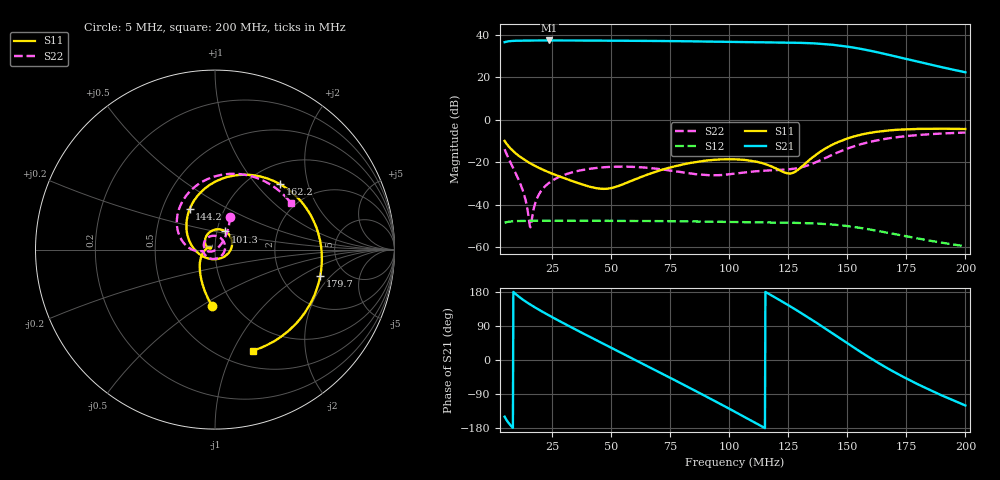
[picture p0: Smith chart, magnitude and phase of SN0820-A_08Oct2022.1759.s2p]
# Hz S DB R 50
! CMT, M5045, 22160017, 22.3.3/2
! Date: 10/8/2022 17:59:22
! Data: Format (Calibration Info)
! Freq	S11:dB/Ang(F2)	S21:dB/Ang(F2)	S12:dB/Ang(F2)	S22:dB/Ang(F2)
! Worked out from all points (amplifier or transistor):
!   1001 points, 5 MHz to 200 MHz, reference 50 ohm
!   highest |S21| = 37.3 dB at 23.91 MHz (marker M1)
!   |S21| within 3 dB of that: start of sweep to 150.7 MHz
!   unconditionally stable (mu >= 1): start of sweep to end of sweep
!   at 37.37 MHz: K = 1.80, MAG = 37.2 dB, |S12| = -47.6 dB
!   at 102.5 MHz: K = 2.01, MAG = 36.7 dB, |S12| = -48.2 dB
!   at 200 MHz: K = 17.85, MAG = 25.4 dB, |S12| = -59.6 dB
!   S11 on the Smith chart (normalised r, x): 5 MHz: 0.80, -0.56; 101.3 MHz: 1.10, +0.23; 144.2 MHz: 0.69, +0.33; 162.2 MHz: 1.37, +1.35; 179.7 MHz: 3.28, -1.54; 200 MHz: 0.68, -1.20
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5000000  -10.02 -92.7  36.43 -149.6  -48.53 -146.8  -13.89 65.4
7925000  -14.08 -111.3  37.01 -175.3  -47.89 -172.6  -21.22 50.6
1.1435e7  -17.40 -128.9  37.17 165.2  -47.69 168.0  -29.63 37.9
2.3915e7  -24.85 -176.5  37.26 117.2  -47.59 120.5  -29.67 -159.6
3.7565e7  -30.39 154.8  37.23 72.2  -47.61 77.2  -23.78 162.9
5.453e7  -30.67 170.0  37.12 18.3  -47.66 25.5  -22.10 110.9
6.233e7  -27.18 164.7  37.07 -6.4  -47.70 1.8  -22.40 84.2
7.013e7  -24.10 150.2  37.01 -31.2  -47.74 -22.0  -23.21 55.0
8.5925e7  -19.95 108.8  36.84 -82.1  -47.93 -70.9  -25.66 -18.1
9.353e7  -18.91 85.6  36.73 -106.9  -48.06 -94.8  -26.17 -59.9
1.0133e8  -18.65 60.0  36.61 -132.7  -48.20 -119.5  -25.51 -99.7
1.025e8  -18.68 55.9  36.59 -136.6  -48.22 -123.3  -25.35 -105.4
1.10885e8  -19.65 24.0  36.47 -164.9  -48.35 -150.4  -24.36 -140.1
1.18685e8  -22.36 -16.9  36.38 167.8  -48.44 -176.6  -23.81 -162.2
1.2629e8  -25.27 -96.6  36.25 140.0  -48.54 156.5  -23.26 -172.5
1.35065e8  -17.96 172.7  35.93 106.0  -48.79 123.5  -20.81 -174.4
1.4423e8  -11.51 122.2  35.17 68.4  -49.40 86.8  -16.27 174.2
1.53005e8  -7.87 82.2  33.84 32.0  -50.53 51.2  -12.50 151.8
1.6217e8  -5.77 45.0  31.85 -4.1  -52.23 15.7  -9.85 124.9
1.6763e8  -5.08 25.0  30.48 -23.9  -53.36 -3.9  -8.78 109.2
1.7972e8  -4.37 -14.3  27.31 -63.5  -55.93 -42.8  -7.27 77.3
2e8  -4.42 -69.6  22.29 -120.1  -59.55 -96.4  -6.08 31.5
